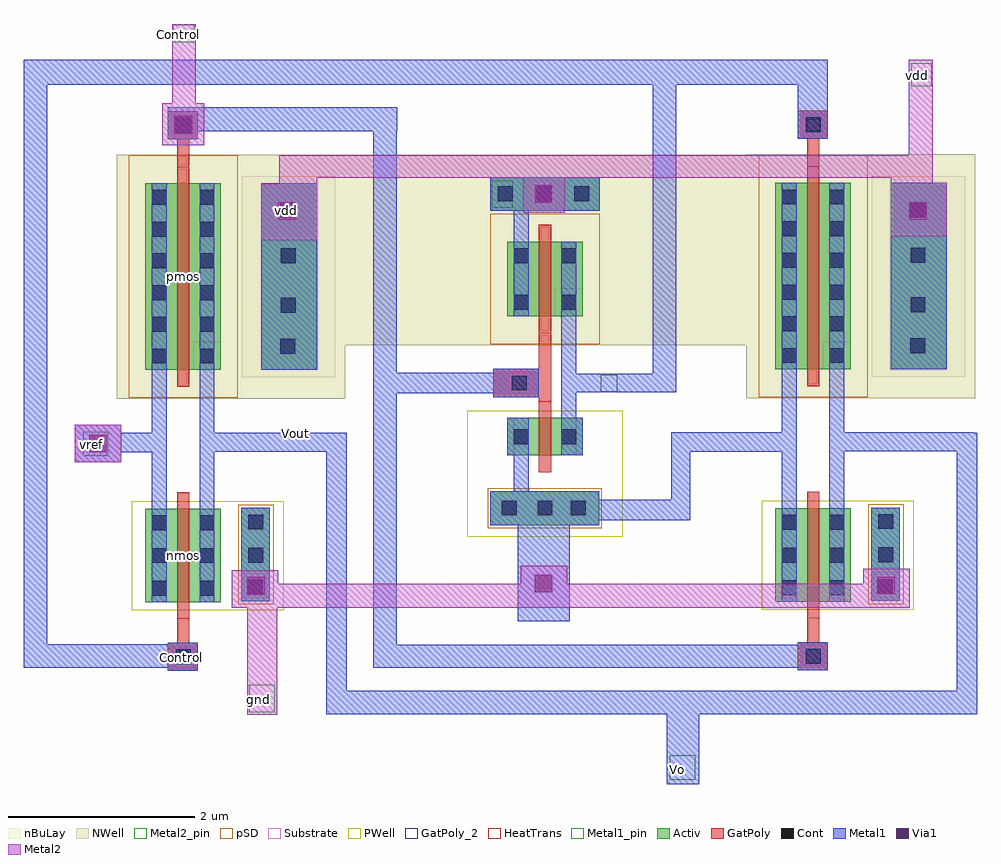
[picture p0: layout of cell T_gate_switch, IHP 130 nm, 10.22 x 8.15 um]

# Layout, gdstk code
import gdstk
lib = gdstk.Library(unit=1e-6, precision=1e-09)
def R(c, l, rs):  # rectangles x0, y0, x1, y1
    for r in rs: c.add(gdstk.rectangle(r[:2], r[2:], *l))
def A(c, l, x, y, w, h, nx, ny, dx, dy):  # array of equal rectangles
    R(c, l, [(x+i*dx, y+j*dy, x+i*dx+w, y+j*dy+h) for i in range(nx) for j in range(ny)])
Activ = (1, 0)
GatPoly = (5, 0)
GatPoly_2 = (5, 2)
Cont = (6, 0)
Metal1 = (8, 0)
Metal1_pin = (8, 2)
Metal2 = (10, 0)
Metal2_pin = (10, 2)
pSD = (14, 0)
Via1 = (19, 0)
NWell = (31, 0)
nBuLay = (32, 0)
Substrate = (40, 0)
PWell = (46, 0)
HeatTrans = (51, 0)

pmos = lib.new_cell('pmos')
R(pmos, Activ, [(0.01,1.755,0.31,2.055), (0.01,1.755,0.82,2.555), (0.52,1.755,0.82,2.055)])
R(pmos, GatPoly, [(0.35,1.575,0.48,2.735), (0.35,1.575,0.48,2.735)])
R(pmos, Cont, [(0.08,1.825,0.24,1.985), (0.59,1.825,0.75,1.985), (0.08,2.325,0.24,2.485), (0.59,2.325,0.75,2.485)])
R(pmos, Metal1, [(0.08,1.755,0.24,2.555), (0.08,1.755,0.24,2.555), (0.59,1.755,0.75,2.555), (0.59,1.755,0.75,2.555)])
R(pmos, pSD, [(-0.17,1.455,1,2.855)])
R(pmos, NWell, [(-0.3,1.445,1.13,2.865)])
R(pmos, Substrate, [(0.52,1.755,0.82,2.055)])
R(pmos, HeatTrans, [(0.35,1.575,0.48,2.735)])
pmos.add(gdstk.Label('pmos', (0.415,2.155), layer=63, texttype=0))
pmos.add(gdstk.Label('pmos', (0.415,2.155), layer=51, texttype=0))

nmos_1 = lib.new_cell('nmos$1')
R(nmos_1, Activ, [(0.01,1.755,0.31,2.055), (0.01,1.755,0.82,2.155), (0.52,1.755,0.82,2.055)])
R(nmos_1, GatPoly, [(0.35,1.575,0.48,2.335)])
R(nmos_1, GatPoly_2, [(0.35,1.575,0.48,2.335)])
R(nmos_1, Cont, [(0.08,1.875,0.24,2.035), (0.59,1.875,0.75,2.035)])
R(nmos_1, Metal1, [(0.08,1.755,0.24,2.155), (0.59,1.755,0.75,2.155)])
R(nmos_1, Metal1_pin, [(0.08,1.755,0.24,2.155), (0.59,1.755,0.75,2.155)])
R(nmos_1, HeatTrans, [(0.35,1.575,0.48,2.335)])
nmos_1.add(gdstk.Label('nmos', (0.415,1.955), layer=63, texttype=0))
nmos_1.add(gdstk.Label('nmos', (0.415,1.955), layer=51, texttype=0))

inverter = lib.new_cell('inverter')
R(inverter, Activ, [(-0.61,-0.17,0.555,0.195), (-0.61,3.205,0.56,3.56)])
R(inverter, GatPoly, [(-0.09,0.4,0.04,3.05), (-0.58,1.205,-0.005,1.51)])
R(inverter, Cont, [(-0.49,-0.065,-0.33,0.095), (-0.105,-0.065,0.055,0.095), (0.25,-0.065,0.41,0.095), (-0.38,1.275,-0.22,1.435), (-0.53,3.305,-0.37,3.465), (-0.115,3.305,0.045,3.465), (0.29,3.305,0.45,3.465)])
R(inverter, Metal1, [(-0.61,-0.17,0.555,0.195), (-0.36,-0.01,-0.2,0.755), (-0.43,0.58,-0.2,0.98), (0.15,0.58,0.38,0.98), (0.15,0.58,0.31,2.87), (-0.58,1.205,-0.09,1.51), (0.15,1.255,0.76,1.455), (-0.36,2.78,-0.2,3.56), (-0.61,3.205,0.56,3.56)])
R(inverter, Metal1_pin, [(0.575,1.26,0.75,1.445), (-0.595,3.235,-0.37,3.525)])
R(inverter, pSD, [(-0.64,-0.205,0.585,0.225)])
R(inverter, NWell, [(-0.86,1.76,0.815,3.805)])
R(inverter, PWell, [(-0.86,-0.295,0.81,1.055)])
inverter.add(gdstk.Reference(pmos, (-0.44,0.315)))
inverter.add(gdstk.Reference(nmos_1, (-0.44,-1.175)))
inverter.add(gdstk.Label('vdd', (-0.505,3.37), layer=8, texttype=25))
inverter.add(gdstk.Label('gnd', (-0.51,0.02), layer=8, texttype=25))
inverter.add(gdstk.Label('vo', (0.665,1.35), layer=8, texttype=25))

pmos_1 = lib.new_cell('pmos$1')
R(pmos_1, Activ, [(0,-0.12,0.3,0.18), (0,-0.12,0.81,1.88), (0.51,-0.12,0.81,0.18)])
R(pmos_1, GatPoly, [(0.34,-0.3,0.47,2.06), (0.34,-0.3,0.47,2.06)])
A(pmos_1, Cont, 0.07, -0.05, 0.16, 0.16, 1, 6, 0, 0.34)
A(pmos_1, Cont, 0.58, -0.05, 0.16, 0.16, 1, 6, 0, 0.34)
R(pmos_1, Metal1, [(0.07,-0.12,0.23,1.88), (0.07,-0.12,0.23,1.88), (0.58,-0.12,0.74,1.88), (0.58,-0.12,0.74,1.88)])
R(pmos_1, pSD, [(-0.18,-0.42,0.99,2.18)])
R(pmos_1, NWell, [(-0.31,-0.43,1.12,2.19)])
R(pmos_1, Substrate, [(0.51,-0.12,0.81,0.18)])
R(pmos_1, HeatTrans, [(0.34,-0.3,0.47,2.06)])
pmos_1.add(gdstk.Label('pmos', (0.405,0.88), layer=63, texttype=0))
pmos_1.add(gdstk.Label('pmos', (0.405,0.88), layer=51, texttype=0))

nmos_1_1 = lib.new_cell('nmos$1$1')
R(nmos_1_1, Activ, [(0,-0.12,0.3,0.18), (0,-0.12,0.81,0.88), (0.51,-0.12,0.81,0.18)])
R(nmos_1_1, GatPoly, [(0.34,-0.3,0.47,1.06)])
R(nmos_1_1, GatPoly_2, [(0.34,-0.3,0.47,1.06)])
A(nmos_1_1, Cont, 0.07, -0.05, 0.16, 0.16, 1, 3, 0, 0.35)
A(nmos_1_1, Cont, 0.58, -0.05, 0.16, 0.16, 1, 3, 0, 0.35)
R(nmos_1_1, Metal1, [(0.07,-0.12,0.23,0.88), (0.58,-0.12,0.74,0.88)])
R(nmos_1_1, Metal1_pin, [(0.07,-0.12,0.23,0.88), (0.58,-0.12,0.74,0.88)])
R(nmos_1_1, HeatTrans, [(0.34,-0.3,0.47,1.06)])
nmos_1_1.add(gdstk.Label('nmos', (0.405,0.38), layer=63, texttype=0))
nmos_1_1.add(gdstk.Label('nmos', (0.405,0.38), layer=51, texttype=0))

t_gate = lib.new_cell('T_gate')
R(t_gate, Activ, [(0.81,-2.425,1.115,-1.425), (1.02,0.055,1.62,2.055)])
R(t_gate, GatPoly, [(0.02,-3.17,0.34,-2.87), (0.12,-2.92,0.25,-2.435), (0.12,2.05,0.25,2.63), (0.02,2.53,0.34,2.83)])
R(t_gate, Cont, [(0.105,-3.1,0.265,-2.94), (0.88,-2.355,1.04,-2.195), (0.885,-2.01,1.045,-1.85), (0.885,-1.655,1.045,-1.495), (1.225,0.23,1.385,0.39), (1.23,0.67,1.39,0.83), (1.23,1.2,1.39,1.36), (1.23,1.69,1.39,1.85), (0.105,2.6,0.265,2.76)])
R(t_gate, Metal1, [(0.02,-3.17,0.34,-2.87), (0.81,-2.425,1.115,-1.425), (-0.15,-1.735,0.01,0.76), (0.36,-1.735,0.52,0.77), (-0.565,-0.825,0.01,-0.62), (0.36,-0.82,1.9,-0.62), (1.02,0.055,1.62,2.055), (0.02,2.53,0.34,2.83)])
R(t_gate, Metal1_pin, [(1.23,1.685,1.39,1.845), (0.12,2.615,0.255,2.745)])
R(t_gate, pSD, [(0.775,-2.46,1.155,-1.39)])
R(t_gate, NWell, [(-0.23,-0.255,1.925,2.365)])
R(t_gate, nBuLay, [(0.815,-0.025,1.815,2.13)])
R(t_gate, PWell, [(-0.365,-2.52,1.265,-1.355)])
t_gate.add(gdstk.Reference(pmos_1, (-0.22,0.175)))
t_gate.add(gdstk.Reference(nmos_1_1, (-0.22,-2.315)))
t_gate.add(gdstk.Label('Vout', (1.385,-0.625), layer=63, texttype=0))
t_gate.add(gdstk.Label('!Control', (0.17,2.685), layer=8, texttype=25))
t_gate.add(gdstk.Label('gnd', (0.955,-1.58), layer=8, texttype=25))
t_gate.add(gdstk.Label('vdd', (1.29,1.76), layer=8, texttype=25))

t_gate_switch = lib.new_cell('T_gate_switch')
R(t_gate_switch, Activ, [(-4.44,-0.8,-4.14,-0.5), (-4.44,-0.8,-3.63,0.2), (-3.93,-0.8,-3.63,-0.5), (-3.41,-0.79,-3.105,0.21), (-4.44,1.69,-4.14,1.99), (-4.44,1.69,-3.63,3.69), (-3.93,1.69,-3.63,1.99), (-3.2,1.69,-2.6,3.69)])
R(t_gate_switch, GatPoly, [(-4.2,-1.535,-3.88,-1.235), (-4.1,-1.285,-3.97,-0.8), (-4.1,-0.98,-3.97,0.38), (-4.1,1.51,-3.97,3.87), (-4.1,1.51,-3.97,3.87), (-4.1,3.685,-3.97,4.265), (-4.2,4.165,-3.88,4.465)])
R(t_gate_switch, GatPoly_2, [(-4.1,-0.98,-3.97,0.38)])
A(t_gate_switch, Cont, -4.37, -0.73, 0.16, 0.16, 1, 3, 0, 0.35)
A(t_gate_switch, Cont, -3.86, -0.73, 0.16, 0.16, 1, 3, 0, 0.35)
A(t_gate_switch, Cont, -4.37, 1.76, 0.16, 0.16, 1, 6, 0, 0.34)
A(t_gate_switch, Cont, -3.86, 1.76, 0.16, 0.16, 1, 6, 0, 0.34)
R(t_gate_switch, Cont, [(-4.115,-1.465,-3.955,-1.305), (-3.34,-0.72,-3.18,-0.56), (-3.335,-0.375,-3.175,-0.215), (-3.335,-0.02,-3.175,0.14), (-2.995,1.865,-2.835,2.025), (-2.99,2.305,-2.83,2.465), (-2.99,2.835,-2.83,2.995), (-2.99,3.325,-2.83,3.485), (-4.115,4.235,-3.955,4.395)])
R(t_gate_switch, Metal1, [(1.15,-2.75,1.5,-1.755), (-2.5,-2,-2.28,1.015), (-2.5,-2,4.48,-1.75), (4.26,-2,4.48,1.015), (-4.2,-1.535,-3.88,-1.235), (-5.745,-1.505,-3.88,-1.25), (-5.745,-1.505,-5.495,5.01), (-1.995,-1.505,2.875,-1.255), (-1.995,-1.505,-1.745,4.455), (-0.45,-1.005,0.11,0.17), (-4.37,-0.8,-4.21,0.2), (-3.86,-0.8,-3.7,0.2), (-3.41,-0.79,-3.105,0.21), (-4.37,-0.1,-4.21,2.395), (-3.86,-0.1,-3.7,2.405), (0.175,0.08,1.4,0.3), (1.2,0.08,1.4,1.02), (-5.2,0.7,-4.7,1.1), (-4.785,0.81,-4.21,1.015), (-3.86,0.815,-2.32,1.015), (1.2,0.815,2.15,1.02), (-1.99,1.44,-0.395,1.66), (0.445,1.45,1.25,1.65), (1,1.45,1.25,5.015), (-4.37,1.69,-4.21,3.69), (-4.37,1.69,-4.21,3.69), (-3.86,1.69,-3.7,3.69), (-3.86,1.69,-3.7,3.69), (-3.2,1.69,-2.6,3.69), (-4.2,4.165,-3.88,4.465), (-4.2,4.165,-3.88,4.505), (2.555,4.17,2.875,5.015), (-4.195,4.25,-1.74,4.505), (-5.745,4.75,2.865,5.015)])
R(t_gate_switch, Metal1_pin, [(1.185,-2.705,1.455,-2.44), (-4.095,-1.44,-3.98,-1.325), (-4.37,-0.8,-4.21,0.2), (-3.86,-0.8,-3.7,0.2), (-2.99,3.32,-2.83,3.48)])
R(t_gate_switch, Metal2, [(-3.35,-2.005,-3.025,-0.685), (-3.515,-0.86,-3.015,-0.46), (-3.255,-0.86,3.755,-0.605), (3.255,-0.84,3.755,-0.44), (-0.415,-0.81,0.085,-0.41), (-5.2,0.7,-4.7,1.1), (-3.2,3.08,-2.6,3.685), (3.555,3.125,4.155,3.695), (3.555,3.36,4.005,3.99), (-0.39,3.375,0.055,3.8), (-3.005,3.41,-2.6,3.99), (3.745,3.625,4.005,5.015), (-3.005,3.75,4.005,3.99), (-4.26,4.1,-3.81,4.55), (-4.155,4.3,-3.9,5.4)])
R(t_gate_switch, Metal2_pin, [(-3.325,-1.98,-3.055,-1.685), (-5.105,0.77,-4.84,1.03), (3.77,4.735,3.99,4.98), (-4.145,5.205,-3.915,5.39)])
R(t_gate_switch, pSD, [(-3.445,-0.825,-3.065,0.245), (-4.62,1.39,-3.45,3.99)])
R(t_gate_switch, Via1, [(-3.35,-0.72,-3.16,-0.53), (3.405,-0.715,3.595,-0.525), (-0.265,-0.695,-0.075,-0.505), (-5.045,0.805,-4.855,0.995), (-3.015,3.3,-2.825,3.49), (3.75,3.3,3.94,3.49), (-0.265,3.485,-0.075,3.675), (-4.13,4.225,-3.94,4.415)])
R(t_gate_switch, NWell, [(-4.75,1.38,-3.32,4), (-4.45,1.38,-2.295,4), (-4.75,1.955,3.435,4)])
R(t_gate_switch, nBuLay, [(-3.405,1.61,-2.405,3.765)])
R(t_gate_switch, Substrate, [(-3.93,1.69,-3.63,1.99)])
R(t_gate_switch, PWell, [(-4.585,-0.885,-2.955,0.28)])
R(t_gate_switch, HeatTrans, [(-4.1,-0.98,-3.97,0.38), (-4.1,1.51,-3.97,3.87)])
t_gate_switch.add(gdstk.Reference(inverter, (-0.13,0.195)))
t_gate_switch.add(gdstk.Reference(t_gate, (2.535,1.64)))
t_gate_switch.add(gdstk.Label('pmos', (-4.035,2.69), layer=63, texttype=0))
t_gate_switch.add(gdstk.Label('nmos', (-4.035,-0.3), layer=63, texttype=0))
t_gate_switch.add(gdstk.Label('Vout', (-2.835,1.01), layer=63, texttype=0))
t_gate_switch.add(gdstk.Label('pmos', (-4.035,2.69), layer=51, texttype=0))
t_gate_switch.add(gdstk.Label('nmos', (-4.035,-0.3), layer=51, texttype=0))
t_gate_switch.add(gdstk.Label('Vo', (1.265,-2.595), layer=8, texttype=25))
t_gate_switch.add(gdstk.Label('Control', (-4.05,-1.39), layer=8, texttype=25))
t_gate_switch.add(gdstk.Label('vdd', (-2.93,3.395), layer=8, texttype=25))
t_gate_switch.add(gdstk.Label('gnd', (-3.225,-1.845), layer=10, texttype=25))
t_gate_switch.add(gdstk.Label('vdd', (3.835,4.845), layer=10, texttype=25))
t_gate_switch.add(gdstk.Label('Control', (-4.085,5.29), layer=10, texttype=25))
t_gate_switch.add(gdstk.Label('vref', (-5.015,0.895), layer=10, texttype=25))

lib.write_gds('T_gate_switch.gds')
